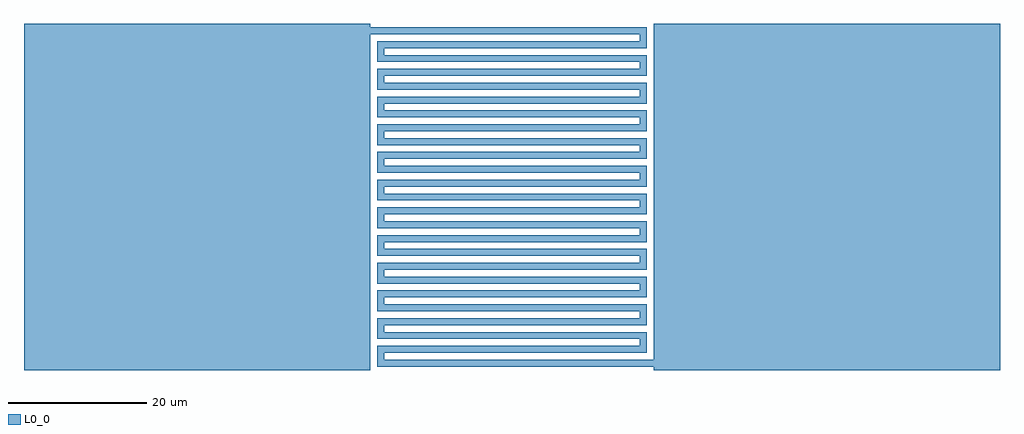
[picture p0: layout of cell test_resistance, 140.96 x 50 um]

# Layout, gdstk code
import gdstk
lib = gdstk.Library(unit=1e-6, precision=1e-09)
def R(c, l, rs):  # rectangles x0, y0, x1, y1
    for r in rs: c.add(gdstk.rectangle(r[:2], r[2:], *l))
def A(c, l, x, y, w, h, nx, ny, dx, dy):  # array of equal rectangles
    R(c, l, [(x+i*dx, y+j*dy, x+i*dx+w, y+j*dy+h) for i in range(nx) for j in range(ny)])
L0_0 = (0, 0)

test_resistance = lib.new_cell('test_resistance')
A(test_resistance, L0_0, 0, 0.5, 38.96, 1, 1, 25, 0, 2)
A(test_resistance, L0_0, 0, 1.5, 1, 1, 1, 12, 0, 4)
A(test_resistance, L0_0, 37.96, 3.5, 1, 1, 1, 12, 0, 4)
R(test_resistance, L0_0, [(-51,0,-1,50), (39.96,0,89.96,50), (38.96,0.5,39.96,1.5), (-46,5,-6,45), (44.96,5,89.96,45), (-1,48.5,0,49.5)])

lib.write_gds('test_resistance.gds')
